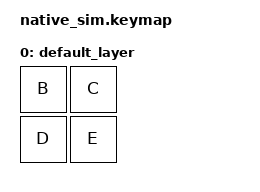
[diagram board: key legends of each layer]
#include <dt-bindings/zmk/keys.h>
#include <behaviors.dtsi>
#include <dt-bindings/zmk/kscan_mock.h>
#include <dt-bindings/zmk/matrix_transform.h>

/delete-node/ &kscan;

/ {
    physical_layout: physical_layout {
        display-name = "Layout";
        compatible = "zmk,physical-layout";
        // Regression test: no explicit `input`/`kscan` property on the layout
        // node. The input device must be resolved via the zmk,matrix-input
        // chosen. (A DT_INST_PROP_LEN() on the missing property expands to an
        // undefined token which poisons the UTIL_OR chain in
        // LAYOUT_HAS_INPUT_DEV(), silently dropping the .input field and the
        // input callback.)
        transform = <&matrix_transform0>;
    };

    chosen {
        /delete-property/ zmk,kscan;
        /* Unbound chosen properties must use the phandle shorthand
         * (`= &node`, no <>) or edtlib won't type them as phandles and
         * DT_CHOSEN_zmk_matrix_input will not be generated. */
        zmk,matrix-input = &mock_matrix_input;
    };

    matrix_transform0: keymap_transform_0 {
        compatible = "zmk,matrix-transform";
        columns = <20>;
        rows = <5>;


        map = <
            RC(0,0) RC(0,1)
            RC(1,0) RC(1,1)
        >;
    };

    mock_matrix_input: mock_matrix_input {
        compatible = "zmk,input-mock";

        event-startup-delay = <100>;
        event-period = <2000>;
        events
            = <INPUT_EV_ABS INPUT_ABS_X 0 0>
            , <INPUT_EV_ABS INPUT_ABS_Y 0 0>
            , <INPUT_EV_KEY INPUT_BTN_TOUCH 1 1>
            , <INPUT_EV_ABS INPUT_ABS_X 0 0>
            , <INPUT_EV_ABS INPUT_ABS_Y 0 0>
            , <INPUT_EV_KEY INPUT_BTN_TOUCH 0 1>
            ;
        exit-after;
    };

    keymap {
        compatible = "zmk,keymap";

        default_layer {
            bindings = <
                &kp B &kp C
                &kp D &kp E
            >;
        };
    };
};
